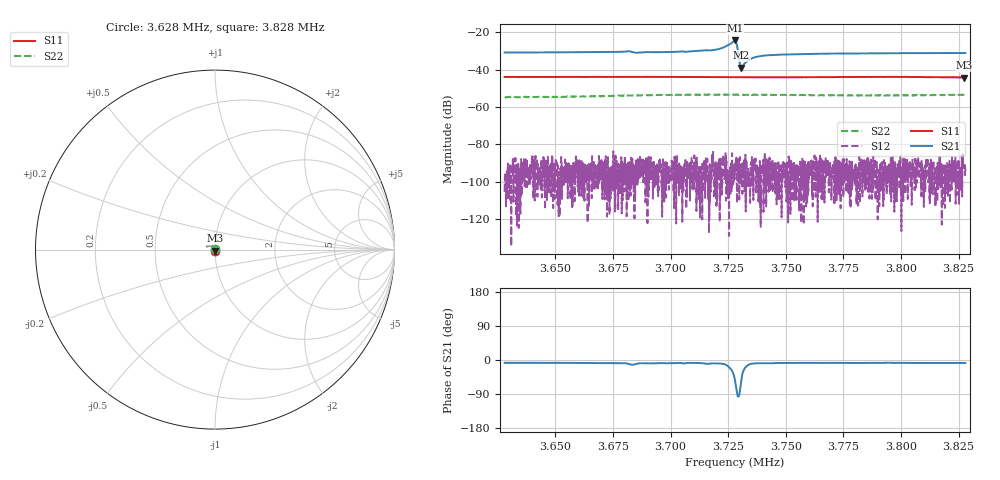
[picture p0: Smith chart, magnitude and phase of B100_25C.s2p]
# Hz S dB R 50.000
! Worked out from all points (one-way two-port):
!   6401 points, 3.628 MHz to 3.828 MHz, reference 50 ohm
!   highest |S21| = -24.35 dB at 3.728 MHz (marker M1); lowest = -38.9 dB at 3.731 MHz (marker M2)
!   lowest |S11| = -44.2 dB at 3.828 MHz (marker M3), VSWR 1.01, Z = 49.9 - j0.611 ohm
!   |S11| at or under -10 dB: start of sweep to end of sweep
!   |S22| runs from -54.9 to -53.2 dB; largest |S21 - S12| = 0.061
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3627969  -43.90 -95.3  -30.80 -7.5  -105.37 80.4  -54.59 90.1
3661313  -43.87 -94.9  -30.64 -7.7  -96.51 56.9  -54.36 90.0
3681563  -43.82 -94.9  -30.16 -9.8  -89.71 35.5  -53.88 87.5
3685156  -43.81 -94.9  -30.95 -10.1  -90.56 136.3  -53.84 85.9
3694656  -43.86 -95.0  -30.64 -8.4  -106.16 -24.1  -53.53 85.3
3718094  -43.99 -95.0  -29.55 -9.0  -92.13 73.2  -53.41 88.3
3722282  -43.99 -95.1  -28.47 -9.8  -103.61 55.9  -53.44 88.6
3727313  -44.02 -95.0  -24.82 -37.2  -92.52 0.9  -53.37 89.7
3727969  -44.01 -95.2  -24.35 -53.9  -90.22 124.3  -53.56 90.0
3728688  -44.00 -95.0  -26.06 -81.6  -94.87 -50.2  -53.41 90.5
3730000  -44.02 -95.2  -36.46 -85.6  -93.69 122.6  -53.36 89.6
3730375  -44.02 -95.0  -38.28 -69.8  -95.37 -1.9  -53.33 90.7
3730719  -43.99 -94.9  -38.85 -53.6  -101.05 91.7  -53.40 90.1
3731344  -44.00 -94.7  -37.98 -33.2  -97.94 -67.0  -53.38 89.6
3733094  -44.01 -95.0  -35.60 -15.8  -94.27 82.6  -53.41 90.2
3735000  -44.03 -95.0  -34.09 -9.8  -89.40 36.3  -53.49 90.7
3738844  -44.04 -94.8  -32.75 -8.5  -90.94 79.4  -53.39 91.9
3748125  -44.05 -95.2  -31.92 -8.0  -95.92 -115.0  -53.49 92.9
3761313  -43.99 -95.3  -31.52 -7.6  -96.57 64.2  -53.57 93.7
3794656  -43.85 -96.2  -31.22 -7.3  -96.28 -69.4  -53.81 89.5
3827500  -44.21 -96.5  -31.07 -7.8  -89.72 30.7  -53.56 86.5
3827969  -44.16 -96.2  -31.08 -7.8  -92.77 -66.8  -53.57 86.3
